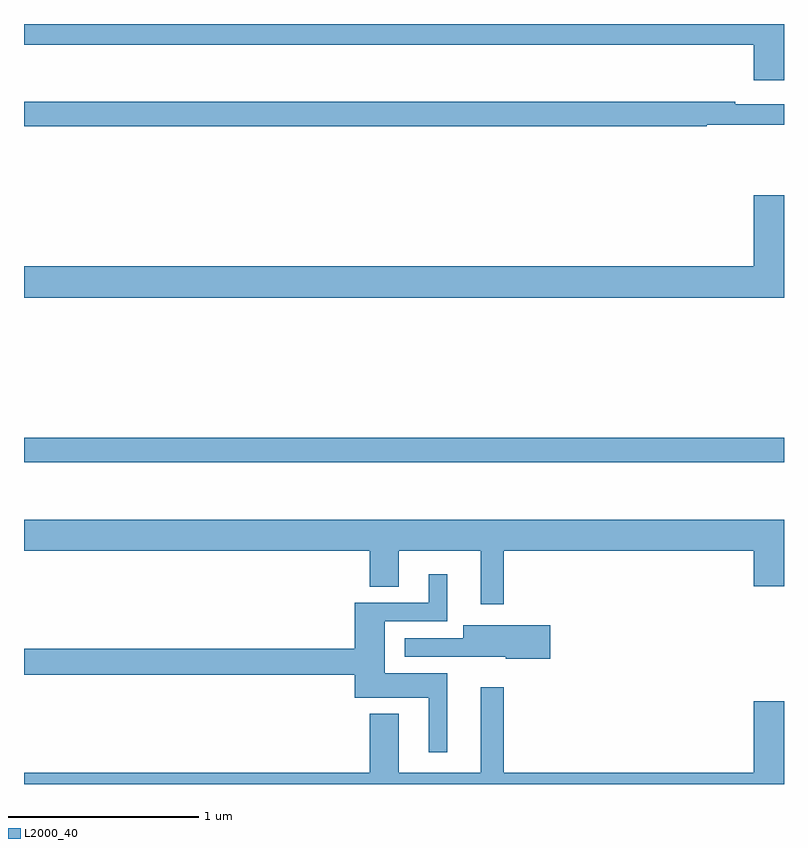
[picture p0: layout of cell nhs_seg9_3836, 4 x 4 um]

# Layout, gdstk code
import gdstk
lib = gdstk.Library(unit=1e-6, precision=1e-09)
def R(c, l, rs):  # rectangles x0, y0, x1, y1
    for r in rs: c.add(gdstk.rectangle(r[:2], r[2:], *l))
def P(c, l, *ps):  # polygons
    for p in ps: c.add(gdstk.Polygon(p, *l))
L2000_40 = (2000, 40)

nhs_seg9_3836 = lib.new_cell('nhs_seg9_3836')
R(nhs_seg9_3836, L2000_40, [(329,1222.194,333,1222.322)])
P(nhs_seg9_3836, L2000_40, [(333,1224.5),(329,1224.5),(329,1224.392),(332.84,1224.392),(332.84,1224.204),(333,1224.204)],
  [(332.594,1223.97),(333,1223.97),(333,1224.078),(332.744,1224.078),(332.744,1224.091),(329,1224.091),(329,1223.962),(332.594,1223.962)],
  [(333,1223.599),(332.84,1223.599),(332.84,1223.224),(329,1223.224),(329,1223.06),(333,1223.06)],
  [(331.525,1221.728),(332.84,1221.728),(332.84,1221.54),(333,1221.54),(333,1221.892),(329,1221.892),(329,1221.728),(330.821,1221.728),(330.821,1221.538),(330.973,1221.538),(330.973,1221.728),(331.403,1221.728),(331.403,1221.447),(331.525,1221.447)],
  [(331.228,1221.082),(330.898,1221.082),(330.898,1221.357),(331.228,1221.357),(331.228,1221.604),(331.13,1221.604),(331.13,1221.453),(330.74,1221.453),(330.74,1221.212),(329,1221.212),(329,1221.076),(330.74,1221.076),(330.74,1220.954),(331.13,1220.954),(331.13,1220.667),(331.228,1220.667)],
  [(331.771,1221.336),(331.313,1221.336),(331.313,1221.267),(331.005,1221.267),(331.005,1221.171),(331.317,1221.171),(331.317,1221.17),(331.536,1221.17),(331.536,1221.158),(331.771,1221.158)],
  [(333,1220.935),(332.84,1220.935),(332.84,1220.56),(331.525,1220.56),(331.525,1221.01),(331.403,1221.01),(331.403,1220.56),(330.973,1220.56),(330.973,1220.869),(330.821,1220.869),(330.821,1220.56),(329,1220.56),(329,1220.5),(333,1220.5)])

lib.write_gds('nhs_seg9_3836.gds')
